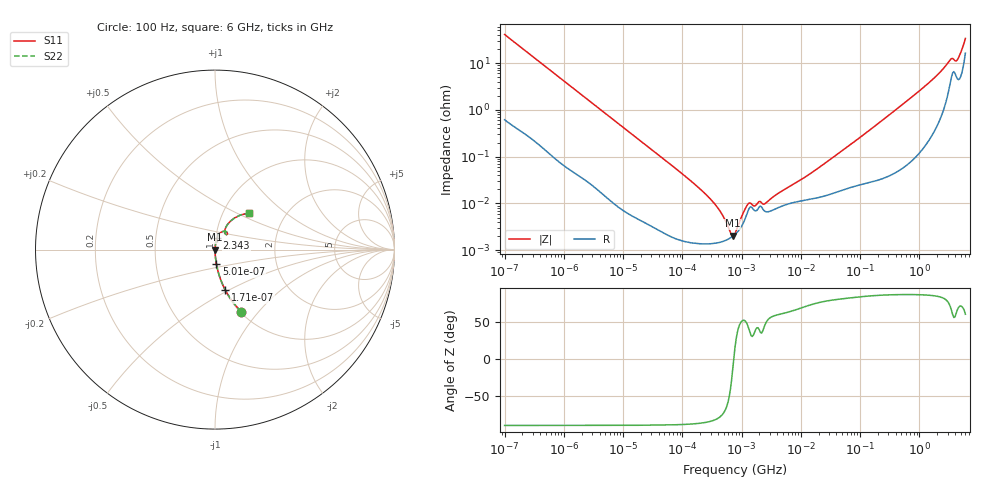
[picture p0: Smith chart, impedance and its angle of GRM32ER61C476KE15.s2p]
!Murata Part Number: GRM32ER61C476KE15
!These Parameters are Measured in Series Mode Connection
!Data Generated on Mar 30, 2021
!  o--ll--o
!Port1  Port2
!  o------o
!Operation Temp=25[degC], DC Bias Voltage=0[V]
!Freq. Start=100[Hz] Stop=6[GHz] 401[Steps]
# Hz S RI R 50
!Freq.(Hz) S11(Real) S11(Imag) S21(Real) S21(Imag) S12(Real) S12(Imag) S22(Real) S22(Imag)
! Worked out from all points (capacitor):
!   401 points, 100 Hz to 6 GHz, reference 50 ohm
!   read as one part in series: C = 38.9 uF near 109 Hz
!   lowest |Z| = 2.04 mohm at 708.2 kHz (marker M1)
!   series resonance near 736 kHz, so ESL is about 1.2 nH
!   S11 on the Smith chart (normalised r, x): 100 Hz: 1.01, -0.81; 171 Hz: 1.01, -0.48; 501 Hz: 1.00, -0.17; 2.343 GHz: 1.01, +0.13; 6 GHz: 1.33, +0.59
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100  0.1461 -0.3457  0.8539 0.3457  0.8539 0.3457  0.1461 -0.3457
171  0.0573 -0.2246  0.9427 0.2246  0.9427 0.2246  0.0573 -0.2246
280  0.0234 -0.1432  0.9766 0.1432  0.9766 0.1432  0.0234 -0.1432
501  0.00809 -0.0819  0.9919 0.0819  0.9919 0.0819  0.00809 -0.0819
2008  0.000789 -0.0209  0.9992 0.0209  0.9992 0.0209  0.000789 -0.0209
40335  2.75e-05 -0.00107  1 0.00107  1 0.00107  2.75e-05 -0.00107
154540  1.43e-05 -0.00027  1 0.00027  1 0.00027  1.43e-05 -0.00027
345986  1.41e-05 -9.94e-05  1 9.94e-05  1 9.94e-05  1.41e-05 -9.94e-05
708247  1.98e-05 -4.8e-06  1 4.8e-06  1 4.8e-06  1.98e-05 -4.8e-06
774597  2.18e-05 6.4e-06  1 -6.4e-06  1 -6.4e-06  2.18e-05 6.4e-06
2481164  6.79e-05 7.19e-05  0.9999 -7.19e-05  0.9999 -7.19e-05  6.79e-05 7.19e-05
4060267  8.03e-05 0.00014  0.9999 -0.00014  0.9999 -0.00014  8.03e-05 0.00014
1.555665e7  0.000125 0.000445  0.9999 -0.000445  0.9999 -0.000445  0.000125 0.000445
8.154455e7  0.000237 0.00211  0.9998 -0.00211  0.9998 -0.00211  0.000237 0.00211
3.124326e8  0.00045 0.00782  0.9996 -0.00782  0.9996 -0.00782  0.00045 0.00782
1.197065e9  0.0025 0.0305  0.9975 -0.0305  0.9975 -0.0305  0.0025 0.0305
2.34314e9  0.0116 0.0659  0.9884 -0.0659  0.9884 -0.0659  0.0116 0.0659
3.352442e9  0.0484 0.1023  0.9516 -0.1023  0.9516 -0.1023  0.0484 0.1023
4.009986e9  0.064 0.083  0.936 -0.083  0.936 -0.083  0.064 0.083
4.385646e9  0.054 0.0972  0.946 -0.0972  0.946 -0.0972  0.054 0.0972
5.016141e9  0.0708 0.1414  0.9292 -0.1414  0.9292 -0.1414  0.0708 0.1414
6e9  0.1916 0.2042  0.8084 -0.2042  0.8084 -0.2042  0.1916 0.2042
